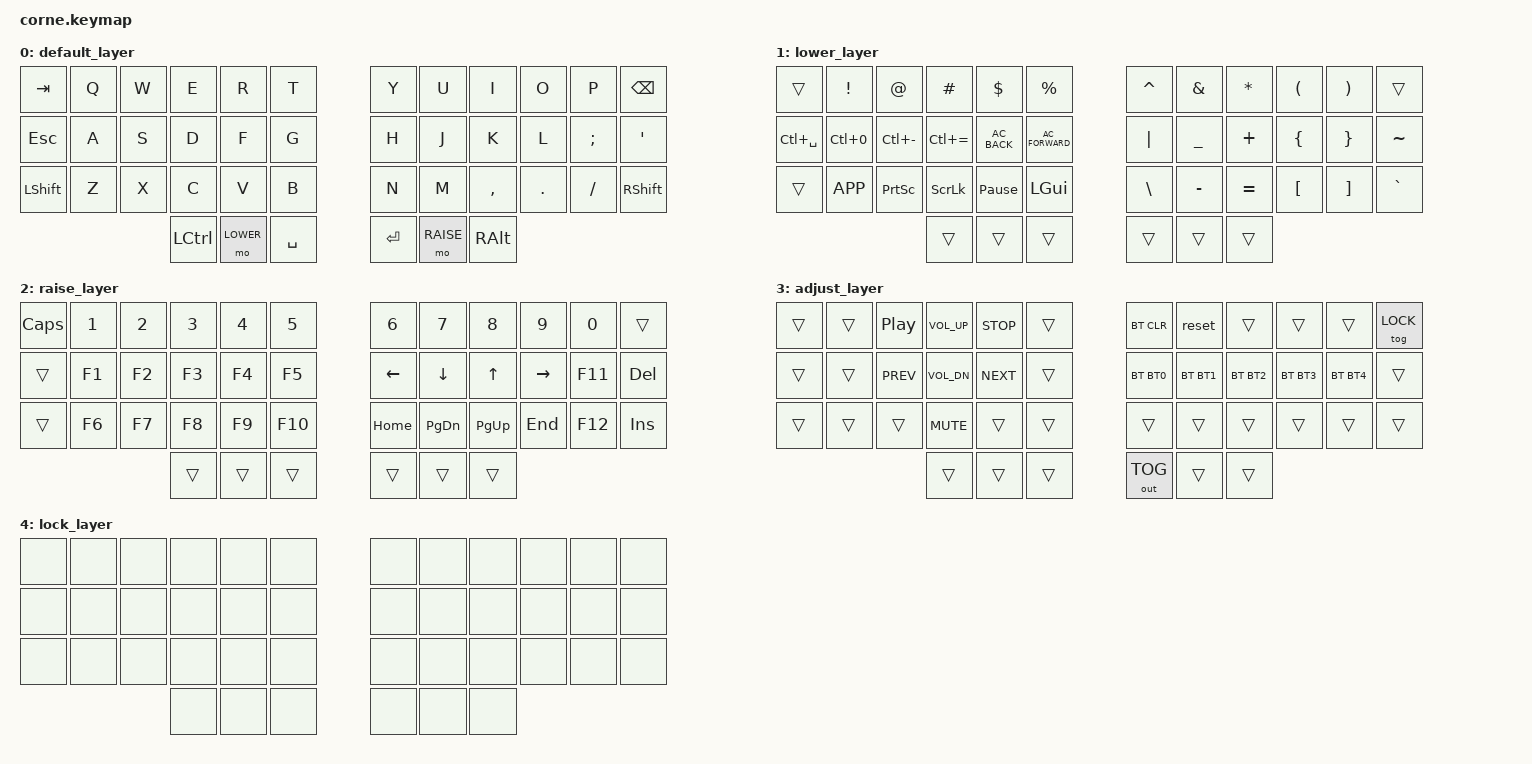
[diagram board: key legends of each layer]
/*
 * Copyright (c) 2020 Jonathan Rascher
 *
 * SPDX-License-Identifier: MIT
 */

#include <behaviors.dtsi>
#include <dt-bindings/zmk/bt.h>
#include <dt-bindings/zmk/keys.h>
#include <dt-bindings/zmk/outputs.h>

#define LOWER 1
#define RAISE 2
#define ADJUST 3
#define LOCK 4

#define BACK C_AC_BACK
#define FWD C_AC_FORWARD
#define PAUSE PAUSE_BREAK
#define VOL_DN C_VOL_DN
#define VOL_UP C_VOL_UP

#define LC_SPC LC(SPACE)
#define ZM_IN LC(EQUAL)
#define ZM_OUT LC(MINUS)
#define ZM_RST LC(N0)

#define BT0 BT_SEL 0
#define BT1 BT_SEL 1
#define BT2 BT_SEL 2
#define BT3 BT_SEL 3
#define BT4 BT_SEL 4

#define O_TOG OUT_TOG

&kscan0 {
    debounce-period = <10>;
};

/ {
    conditional_layers {
        compatible = "zmk,conditional-layers";

        tri_layer {
            if-layers = <LOWER RAISE>;
            then-layer = <ADJUST>;
        };
    };

    combos {
        compatible = "zmk,combos";

        // The Lower+Raise+Backspace combo toggles a "soft lock" mode that effectively disables
        // keystrokes (e.g., for when the keyboard is in storage or being transported).
        //
        // If https://github.com/zmkfirmware/zmk/issues/405 is implemented, this combo can be
        // replaced by a native behavior in the future.
        combo_unlock {
            timeout-ms = <200>;
            key-positions = <11 /* BSPC */ 37 /* LOWER */ 40 /* RAISE */>;
            bindings = <&tog LOCK>;
            layers = <LOCK>;
        };
    };

    keymap {
        compatible = "zmk,keymap";

        default_layer {
            bindings = <
                &kp TAB    &kp Q      &kp W      &kp E      &kp R      &kp T                           &kp Y      &kp U      &kp I      &kp O      &kp P      &kp BSPC
                &kp ESC    &kp A      &kp S      &kp D      &kp F      &kp G                           &kp H      &kp J      &kp K      &kp L      &kp SEMI   &kp SQT
                &kp LSHFT  &kp Z      &kp X      &kp C      &kp V      &kp B                           &kp N      &kp M      &kp COMMA  &kp DOT    &kp FSLH   &kp RSHFT
                                                            &kp LCTRL  &mo LOWER  &kp SPACE  &kp RET   &mo RAISE  &kp RALT
            >;
        };

        lower_layer {
            bindings = <
                &trans     &kp EXCL   &kp AT     &kp HASH   &kp DLLR   &kp PRCNT                        &kp CARET  &kp AMPS   &kp ASTRK  &kp LPAR   &kp RPAR   &trans
                &kp LC_SPC &kp ZM_RST &kp ZM_OUT &kp ZM_IN  &kp BACK   &kp FWD                          &kp PIPE   &kp UNDER  &kp PLUS   &kp LBRC   &kp RBRC   &kp TILDE
                &trans     &kp K_APP  &kp PSCRN  &kp SLCK   &kp PAUSE  &kp LGUI                         &kp BSLH   &kp MINUS  &kp EQUAL  &kp LBKT   &kp RBKT   &kp GRAVE
                                                            &trans     &trans     &trans     &trans     &trans     &trans
            >;
        };

        raise_layer {
            bindings = <
                &kp CLCK   &kp N1     &kp N2     &kp N3     &kp N4     &kp N5                           &kp N6     &kp N7     &kp N8     &kp N9     &kp N0     &trans
                &trans     &kp F1     &kp F2     &kp F3     &kp F4     &kp F5                           &kp LEFT   &kp DOWN   &kp UP     &kp RIGHT  &kp F11    &kp DEL
                &trans     &kp F6     &kp F7     &kp F8     &kp F9     &kp F10                          &kp HOME   &kp PG_DN  &kp PG_UP  &kp END    &kp F12    &kp INS
                                                            &trans     &trans     &trans     &trans     &trans     &trans
            >;
        };

        adjust_layer {
            bindings = <
                &trans     &trans     &kp C_PP   &kp VOL_UP &kp C_STOP &trans                           &bt BT_CLR &reset     &trans     &trans     &trans     &tog LOCK
                &trans     &trans     &kp C_PREV &kp VOL_DN &kp C_NEXT &trans                           &bt BT0    &bt BT1    &bt BT2    &bt BT3    &bt BT4    &trans
                &trans     &trans     &trans     &kp C_MUTE &trans     &trans                           &trans     &trans     &trans     &trans     &trans     &trans
                                                            &trans     &trans     &trans     &out O_TOG &trans     &trans
            >;
        };

        lock_layer {
            bindings = <
                &none      &none      &none      &none      &none      &none                            &none      &none      &none      &none      &none      &none
                &none      &none      &none      &none      &none      &none                            &none      &none      &none      &none      &none      &none
                &none      &none      &none      &none      &none      &none                            &none      &none      &none      &none      &none      &none
                                                            &none      &none      &none      &none      &none      &none
            >;
        };
    };
};
